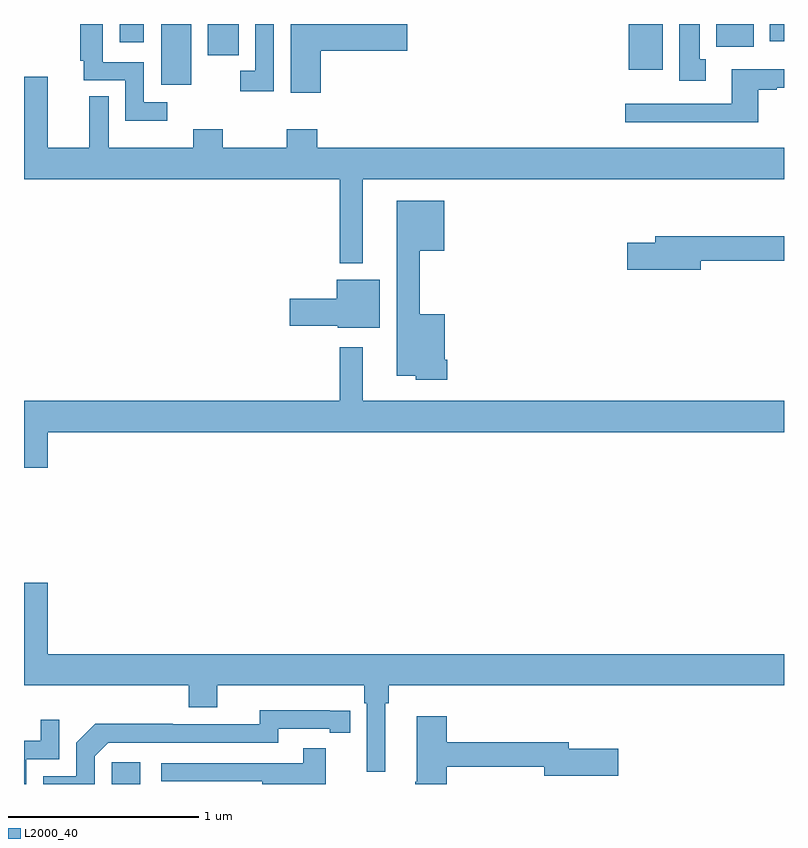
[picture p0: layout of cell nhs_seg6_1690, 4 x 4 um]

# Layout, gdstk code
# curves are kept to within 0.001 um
import gdstk
lib = gdstk.Library(unit=1e-6, precision=1e-09)
def R(c, l, rs):  # rectangles x0, y0, x1, y1
    for r in rs: c.add(gdstk.rectangle(r[:2], r[2:], *l))
def P(c, l, *ps):  # polygons
    for p in ps: c.add(gdstk.Polygon(p, *l))
L2000_40 = (2000, 40)

nhs_seg6_1690 = lib.new_cell('nhs_seg6_1690')
R(nhs_seg6_1690, L2000_40, [(213.462,929.5,213.613,929.614), (213.722,933.18,213.88,933.5), (216.182,933.26,216.361,933.5), (213.968,933.336,214.129,933.5), (216.644,933.38,216.841,933.5), (213.503,933.405,213.63,933.5), (216.926,933.408,217,933.5)])
P(nhs_seg6_1690, L2000_40, [(216.589,933.314),(216.556,933.314),(216.556,933.5),(216.449,933.5),(216.449,933.201),(216.589,933.201)],
  [(213.754,933.087),(213.63,933.087),(213.63,933.3),(213.415,933.3),(213.415,933.5),(213.297,933.5),(213.297,933.307),(213.314,933.307),(213.314,933.204),(213.534,933.204),(213.534,932.99),(213.754,932.99)],
  [(214.562,933.359),(215.017,933.359),(215.017,933.5),(214.403,933.5),(214.403,933.138),(214.562,933.138)],
  [(214.314,933.5),(214.218,933.5),(214.218,933.255),(214.137,933.255),(214.137,933.147),(214.314,933.147)],
  [(216.865,933.153),(216.961,933.153),(216.961,933.165),(217,933.165),(217,933.262),(216.725,933.262),(216.725,933.081),(216.165,933.081),(216.165,932.984),(216.865,932.984)],
  [(214.783,932.684),(217,932.684),(217,932.848),(214.544,932.848),(214.544,932.947),(214.384,932.947),(214.384,932.848),(214.047,932.848),(214.047,932.947),(213.892,932.947),(213.892,932.848),(213.445,932.848),(213.445,933.119),(213.344,933.119),(213.344,932.848),(213.124,932.848),(213.124,933.223),(213,933.223),(213,932.684),(214.662,932.684),(214.662,932.24),(214.783,932.24)],
  [(215.228,931.732),(215.215,931.732),(215.215,931.972),(215.083,931.972),(215.083,932.306),(215.212,932.306),(215.212,932.569),(214.961,932.569),(214.961,931.649),(215.061,931.649),(215.061,931.628),(215.228,931.628)],
  [(216.562,932.254),(217,932.254),(217,932.383),(216.323,932.383),(216.323,932.349),(216.174,932.349),(216.174,932.207),(216.562,932.207)],
  [(214.873,932.155),(214.646,932.155),(214.646,932.054),(214.398,932.054),(214.398,931.912),(214.65,931.912),(214.65,931.901),(214.873,931.901)],
  [(213.124,931.352),(217,931.352),(217,931.516),(214.783,931.516),(214.783,931.798),(214.662,931.798),(214.662,931.516),(213,931.516),(213,931.164),(213.124,931.164)],
  [(214.9,929.924),(214.919,929.924),(214.919,930.02),(217,930.02),(217,930.184),(213.124,930.184),(213.124,930.559),(213,930.559),(213,930.02),(213.866,930.02),(213.866,929.903),(214.018,929.903),(214.018,930.02),(214.79,930.02),(214.79,929.924),(214.803,929.924),(214.803,929.565),(214.9,929.565)],
  [(213.372,929.646),(213.444,929.718),(214.338,929.718),(214.338,929.79),(214.61,929.79),(214.61,929.77),(214.718,929.77),(214.718,929.886),(214.242,929.887),(214.242,929.814),(213.782,929.814),(213.782,929.816),(213.374,929.816),(213.276,929.718),(213.276,929.541),(213.102,929.541),(213.102,929.5),(213.372,929.5)],
  [(215.225,929.59),(215.738,929.59),(215.738,929.543),(216.127,929.543),(216.127,929.685),(215.866,929.685),(215.866,929.719),(215.225,929.719),(215.225,929.857),(215.066,929.857),(215.066,929.513),(215.059,929.513),(215.059,929.5),(215.225,929.5)],
  [(213.012,929.631),(213.186,929.631),(213.186,929.839),(213.089,929.839),(213.089,929.727),(213,929.727),(213,929.5),(213.012,929.5)],
  [(214.589,929.689),(214.471,929.689),(214.471,929.61),(213.723,929.61),(213.723,929.514),(214.255,929.514),(214.255,929.5),(214.589,929.5)])

lib.write_gds('nhs_seg6_1690.gds')
